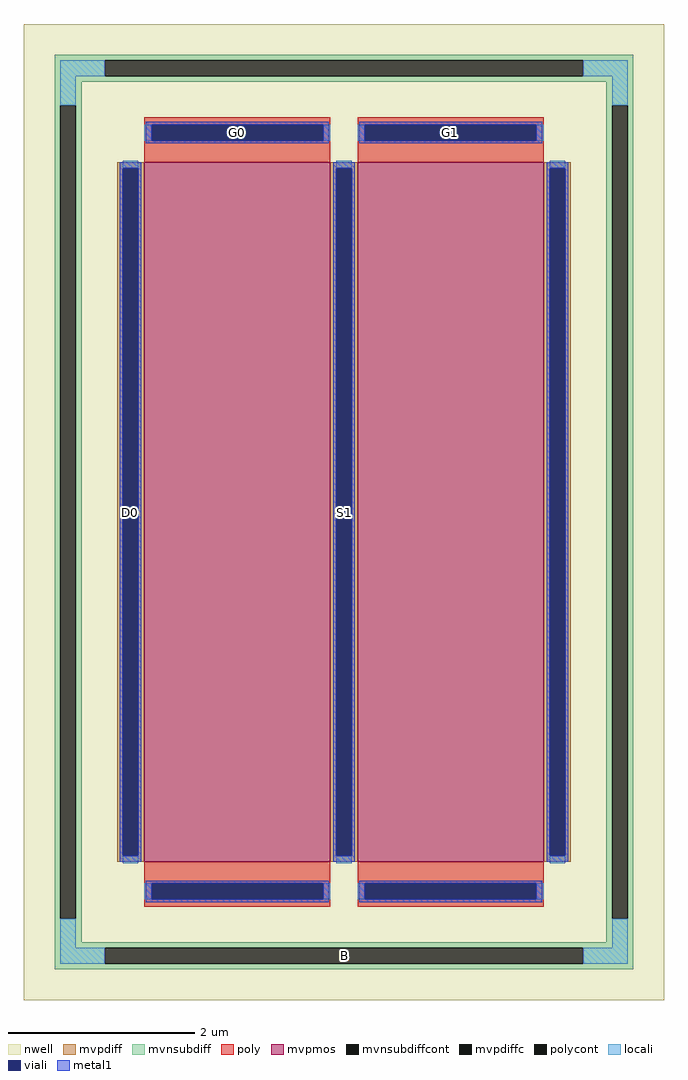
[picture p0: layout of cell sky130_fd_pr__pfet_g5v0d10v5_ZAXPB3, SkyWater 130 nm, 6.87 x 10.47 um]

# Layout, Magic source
magic
tech sky130A
magscale 1 2
<< nwell >>
rect -687 -1047 687 1047
<< mvpmos >>
rect -429 -750 -29 750
rect 29 -750 429 750
<< mvpdiff >>
rect -487 738 -429 750
rect -487 -738 -475 738
rect -441 -738 -429 738
rect -487 -750 -429 -738
rect -29 738 29 750
rect -29 -738 -17 738
rect 17 -738 29 738
rect -29 -750 29 -738
rect 429 738 487 750
rect 429 -738 441 738
rect 475 -738 487 738
rect 429 -750 487 -738
<< mvpdiffc >>
rect -475 -738 -441 738
rect -17 -738 17 738
rect 441 -738 475 738
<< mvnsubdiff >>
rect -621 969 621 981
rect -621 935 -513 969
rect 513 935 621 969
rect -621 923 621 935
rect -621 873 -563 923
rect -621 -873 -609 873
rect -575 -873 -563 873
rect 563 873 621 923
rect -621 -923 -563 -873
rect 563 -873 575 873
rect 609 -873 621 873
rect 563 -923 621 -873
rect -621 -935 621 -923
rect -621 -969 -513 -935
rect 513 -969 621 -935
rect -621 -981 621 -969
<< mvnsubdiffcont >>
rect -513 935 513 969
rect -609 -873 -575 873
rect 575 -873 609 873
rect -513 -969 513 -935
<< poly >>
rect -429 831 -29 847
rect -429 797 -413 831
rect -45 797 -29 831
rect -429 750 -29 797
rect 29 831 429 847
rect 29 797 45 831
rect 413 797 429 831
rect 29 750 429 797
rect -429 -797 -29 -750
rect -429 -831 -413 -797
rect -45 -831 -29 -797
rect -429 -847 -29 -831
rect 29 -797 429 -750
rect 29 -831 45 -797
rect 413 -831 429 -797
rect 29 -847 429 -831
<< polycont >>
rect -413 797 -45 831
rect 45 797 413 831
rect -413 -831 -45 -797
rect 45 -831 413 -797
<< locali >>
rect -609 935 -513 969
rect 513 935 609 969
rect -609 873 -575 935
rect 575 873 609 935
rect -429 797 -413 831
rect -45 797 -29 831
rect 29 797 45 831
rect 413 797 429 831
rect -475 738 -441 754
rect -475 -754 -441 -738
rect -17 738 17 754
rect -17 -754 17 -738
rect 441 738 475 754
rect 441 -754 475 -738
rect -429 -831 -413 -797
rect -45 -831 -29 -797
rect 29 -831 45 -797
rect 413 -831 429 -797
rect -609 -935 -575 -873
rect 575 -935 609 -873
rect -609 -969 -513 -935
rect 513 -969 609 -935
<< viali >>
rect -413 797 -45 831
rect 45 797 413 831
rect -475 -738 -441 738
rect -17 -738 17 738
rect 441 -738 475 738
rect -413 -831 -45 -797
rect 45 -831 413 -797
<< metal1 >>
rect -425 831 -33 837
rect -425 797 -413 831
rect -45 797 -33 831
rect -425 791 -33 797
rect 33 831 425 837
rect 33 797 45 831
rect 413 797 425 831
rect 33 791 425 797
rect -481 738 -435 750
rect -481 -738 -475 738
rect -441 -738 -435 738
rect -481 -750 -435 -738
rect -23 738 23 750
rect -23 -738 -17 738
rect 17 -738 23 738
rect -23 -750 23 -738
rect 435 738 481 750
rect 435 -738 441 738
rect 475 -738 481 738
rect 435 -750 481 -738
rect -425 -797 -33 -791
rect -425 -831 -413 -797
rect -45 -831 -33 -797
rect -425 -837 -33 -831
rect 33 -797 425 -791
rect 33 -831 45 -797
rect 413 -831 425 -797
rect 33 -837 425 -831
<< labels >>
rlabel mvnsubdiffcont 0 -952 0 -952 0 B
port 1 nsew
rlabel mvpdiffc -458 0 -458 0 0 D0
port 2 nsew
rlabel polycont -229 814 -229 814 0 G0
port 3 nsew
rlabel mvpdiffc 0 0 0 0 0 S1
port 4 nsew
rlabel polycont 229 814 229 814 0 G1
port 5 nsew
<< properties >>
string FIXED_BBOX -592 -952 592 952
string gencell sky130_fd_pr__pfet_g5v0d10v5
string library sky130
string parameters w 7.5 l 2 m 1 nf 2 diffcov 100 polycov 100 guard 1 glc 1 grc 1 gtc 1 gbc 1 tbcov 100 rlcov 100 topc 1 botc 1 poverlap 0 doverlap 1 lmin 0.50 wmin 0.42 class mosfet compatible {sky130_fd_pr__pfet_01v8  sky130_fd_pr__pfet_01v8_lvt sky130_fd_pr__pfet_01v8_hvt  sky130_fd_pr__pfet_g5v0d10v5} full_metal 1 conn_gates 0 viasrc 100 viadrn 100 viagate 100 viagb 0 viagr 0 viagl 0 viagt 0 doports 1
<< end >>
